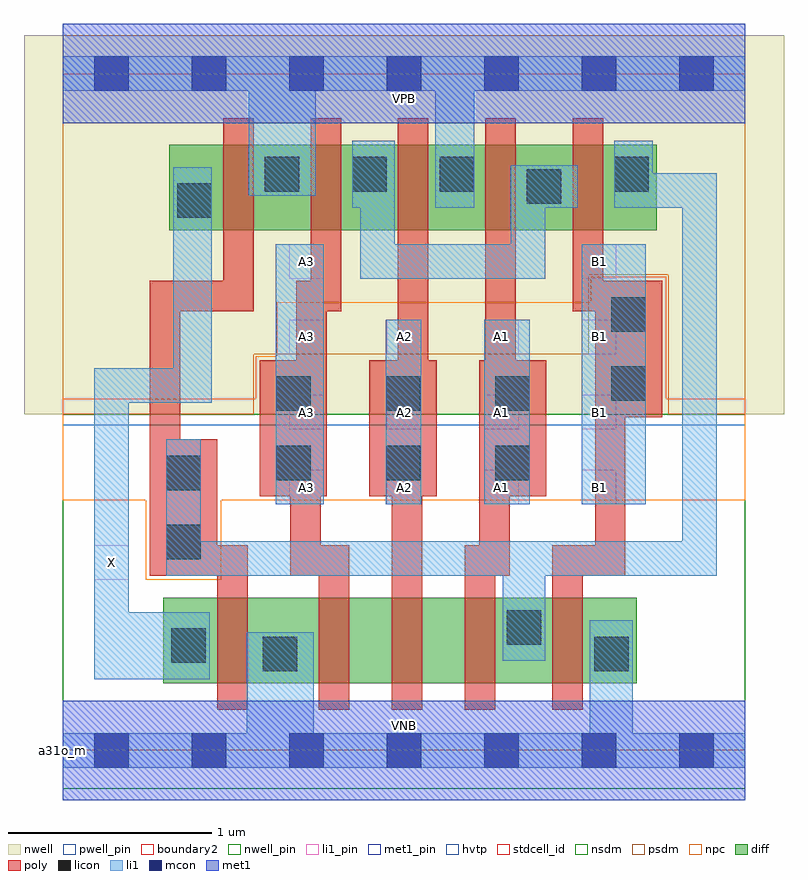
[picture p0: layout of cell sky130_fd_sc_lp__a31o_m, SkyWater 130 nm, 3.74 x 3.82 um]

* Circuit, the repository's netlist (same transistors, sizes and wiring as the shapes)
* Copyright 2020 The SkyWater PDK Authors
*
* Licensed under the Apache License, Version 2.0 (the "License");
* you may not use this file except in compliance with the License.
* You may obtain a copy of the License at
*
*     https://www.apache.org/licenses/LICENSE-2.0
*
* Unless required by applicable law or agreed to in writing, software
* distributed under the License is distributed on an "AS IS" BASIS,
* WITHOUT WARRANTIES OR CONDITIONS OF ANY KIND, either express or implied.
* See the License for the specific language governing permissions and
* limitations under the License.
*
* SPDX-License-Identifier: Apache-2.0

.SUBCKT sky130_fd_sc_lp__a31o_m A1 A2 A3 B1 VGND VNB VPB VPWR X
*.PININFO A1:I A2:I A3:I B1:I VGND:I VNB:I VPB:I VPWR:I X:O
MMPA0 pndA A1 VPWR VPB sky130_fd_pr__pfet_01v8_hvt m=1 w=0.42U l=0.15U mult=1 sa=0.265
+ sb=0.265 sd=0.28 area=0.063 perim=1.14
MMPA1 pndA A2 VPWR VPB sky130_fd_pr__pfet_01v8_hvt m=1 w=0.42U l=0.15U mult=1 sa=0.265
+ sb=0.265 sd=0.28 area=0.063 perim=1.14
MMPA2 pndA A3 VPWR VPB sky130_fd_pr__pfet_01v8_hvt m=1 w=0.42U l=0.15U mult=1 sa=0.265
+ sb=0.265 sd=0.28 area=0.063 perim=1.14
MMPB0 y B1 pndA VPB sky130_fd_pr__pfet_01v8_hvt m=1 w=0.42U l=0.15U mult=1 sa=0.265
+ sb=0.265 sd=0.28 area=0.063 perim=1.14
MMIPX X y VPWR VPB sky130_fd_pr__pfet_01v8_hvt m=1 w=0.42U l=0.15U mult=1 sa=0.265
+ sb=0.265 sd=0.28 area=0.063 perim=1.14
MMNA0 y A1 sndA1 VNB sky130_fd_pr__nfet_01v8 m=1 w=0.42U l=0.15U mult=1 sa=0.265
+ sb=0.265 sd=0.28 area=0.063 perim=1.14
MMNA1 sndA1 A2 sndA2 VNB sky130_fd_pr__nfet_01v8 m=1 w=0.42U l=0.15U mult=1 sa=0.265
+ sb=0.265 sd=0.28 area=0.063 perim=1.14
MMNA2 sndA2 A3 VGND VNB sky130_fd_pr__nfet_01v8 m=1 w=0.42U l=0.15U mult=1 sa=0.265
+ sb=0.265 sd=0.28 area=0.063 perim=1.14
MMNB0 y B1 VGND VNB sky130_fd_pr__nfet_01v8 m=1 w=0.42U l=0.15U mult=1 sa=0.265
+ sb=0.265 sd=0.28 area=0.063 perim=1.14
MMINX X y VGND VNB sky130_fd_pr__nfet_01v8 m=1 w=0.42U l=0.15U mult=1 sa=0.265
+ sb=0.265 sd=0.28 area=0.063 perim=1.14
.ENDS sky130_fd_sc_lp__a31o_m

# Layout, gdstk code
import gdstk
lib = gdstk.Library(unit=1e-6, precision=1e-09)
def R(c, l, rs):  # rectangles x0, y0, x1, y1
    for r in rs: c.add(gdstk.rectangle(r[:2], r[2:], *l))
def A(c, l, x, y, w, h, nx, ny, dx, dy):  # array of equal rectangles
    R(c, l, [(x+i*dx, y+j*dy, x+i*dx+w, y+j*dy+h) for i in range(nx) for j in range(ny)])
def P(c, l, *ps):  # polygons
    for p in ps: c.add(gdstk.Polygon(p, *l))
nwell_pin = (64, 16)
nwell = (64, 20)
diff = (65, 20)
poly = (66, 20)
licon = (66, 44)
li1_pin = (67, 16)
li1 = (67, 20)
mcon = (67, 44)
met1_pin = (68, 16)
met1 = (68, 20)
hvtp = (78, 44)
stdcell_id = (81, 4)
nsdm = (93, 44)
psdm = (94, 20)
npc = (95, 20)
pwell_pin = (122, 16)
boundary2 = (236, 0)

sky130_fd_sc_lp__a31o_m = lib.new_cell('sky130_fd_sc_lp__a31o_m')
R(sky130_fd_sc_lp__a31o_m, nwell_pin, [(0,3.085,3.36,3.33)])
R(sky130_fd_sc_lp__a31o_m, nwell, [(-0.19,1.655,3.55,3.52)])
R(sky130_fd_sc_lp__a31o_m, diff, [(0.495,0.33,2.825,0.75), (0.525,2.56,2.925,2.98)])
P(sky130_fd_sc_lp__a31o_m, poly, [(0.94,3.11),(0.79,3.11),(0.79,2.31),(0.43,2.31),(0.43,0.86),(0.76,0.86),(0.76,0.2),(0.91,0.2),(0.91,1.01),(0.76,1.01),(0.76,1.53),(0.58,1.53),(0.58,2.16),(0.94,2.16)],
  [(1.41,1.01),(1.27,1.01),(1.27,1.25),(1.3,1.25),(1.3,2.16),(1.37,2.16),(1.37,3.11),(1.22,3.11),(1.22,2.31),(1.15,2.31),(1.15,1.92),(0.97,1.92),(0.97,1.25),(1.12,1.25),(1.12,0.86),(1.26,0.86),(1.26,0.2),(1.41,0.2)],
  [(1.84,1.92),(1.8,1.92),(1.8,3.11),(1.65,3.11),(1.65,1.92),(1.51,1.92),(1.51,1.25),(1.62,1.25),(1.62,0.2),(1.77,0.2),(1.77,1.25),(1.84,1.25)],
  [(2.38,1.92),(2.23,1.92),(2.23,3.11),(2.08,3.11),(2.08,1.92),(2.05,1.92),(2.05,1.01),(1.98,1.01),(1.98,0.2),(2.13,0.2),(2.13,0.86),(2.2,0.86),(2.2,1.25),(2.38,1.25)],
  [(2.95,2.31),(2.66,2.31),(2.66,3.11),(2.51,3.11),(2.51,2.16),(2.62,2.16),(2.62,1.01),(2.41,1.01),(2.41,0.2),(2.56,0.2),(2.56,0.86),(2.77,0.86),(2.77,1.64),(2.95,1.64)])
A(sky130_fd_sc_lp__a31o_m, licon, 1.05, 1.33, 0.17, 0.17, 3, 2, 0.54, 0.34)
A(sky130_fd_sc_lp__a31o_m, licon, 0.995, 2.75, 0.17, 0.17, 3, 1, 0.43, 0)
R(sky130_fd_sc_lp__a31o_m, licon, [(0.985,0.39,1.155,0.56), (2.615,0.39,2.785,0.56), (0.535,0.43,0.705,0.6), (2.185,0.52,2.355,0.69), (0.51,0.94,0.68,1.11), (0.51,1.28,0.68,1.45), (2.7,1.72,2.87,1.89), (2.7,2.06,2.87,2.23), (0.565,2.62,0.735,2.79), (2.285,2.69,2.455,2.86), (2.715,2.75,2.885,2.92)])
A(sky130_fd_sc_lp__a31o_m, li1_pin, 1.115, 1.21, 0.17, 0.17, 4, 3, 0.48, 0.37)
R(sky130_fd_sc_lp__a31o_m, li1_pin, [(0.155,0.84,0.325,1.01), (1.115,2.32,1.285,2.49), (2.555,2.32,2.725,2.49)])
R(sky130_fd_sc_lp__a31o_m, li1, [(1.05,1.21,1.285,2.49), (1.59,1.21,1.765,2.12), (2.075,1.21,2.3,2.12), (2.555,1.21,2.87,2.49)])
P(sky130_fd_sc_lp__a31o_m, li1, [(0.915,2.73),(0.915,3.245),(0,3.245),(0,3.415),(3.36,3.415),(3.36,3.245),(2.025,3.245),(2.025,2.67),(1.835,2.67),(1.835,3.245),(1.245,3.245),(1.245,2.73)],
  [(2.595,0.085),(2.595,0.64),(2.805,0.64),(2.805,0.085),(3.36,0.085),(3.36,-0.085),(0,-0.085),(0,0.085),(0.905,0.085),(0.905,0.58),(1.235,0.58),(1.235,0.085)],
  [(2.205,2.49),(2.205,2.88),(2.535,2.88),(2.535,2.67),(2.375,2.67),(2.375,2.32),(1.465,2.32),(1.465,2.67),(1.425,2.67),(1.425,3),(1.635,3),(1.635,2.49)],
  [(2.905,2.84),(3.22,2.84),(3.22,0.86),(2.375,0.86),(2.375,0.44),(2.165,0.44),(2.165,0.86),(0.51,0.86),(0.51,1.53),(0.68,1.53),(0.68,1.03),(3.05,1.03),(3.05,2.67),(2.715,2.67),(2.715,3),(2.905,3)],
  [(0.325,1.71),(0.325,0.68),(0.725,0.68),(0.725,0.35),(0.155,0.35),(0.155,1.88),(0.545,1.88),(0.545,2.87),(0.735,2.87),(0.735,1.71)])
A(sky130_fd_sc_lp__a31o_m, mcon, 0.155, -0.085, 0.17, 0.17, 7, 2, 0.48, 3.33)
R(sky130_fd_sc_lp__a31o_m, met1_pin, [(0,0,3.36,0.245), (0,3.085,3.36,3.33)])
R(sky130_fd_sc_lp__a31o_m, met1, [(0,-0.245,3.36,0.245), (0,3.085,3.36,3.575)])
R(sky130_fd_sc_lp__a31o_m, hvtp, [(0,1.6,3.36,3.33)])
R(sky130_fd_sc_lp__a31o_m, stdcell_id, [(0,0,3.36,3.33)])
R(sky130_fd_sc_lp__a31o_m, nsdm, [(0,-0.19,3.36,1.655)])
P(sky130_fd_sc_lp__a31o_m, psdm, [(3.36,3.52),(0,3.52),(0,1.655),(0.94,1.655),(0.94,1.95),(2.59,1.95),(2.59,2.34),(2.98,2.34),(2.98,1.655),(3.36,1.655)])
P(sky130_fd_sc_lp__a31o_m, npc, [(3.36,1.73),(2.97,1.73),(2.97,2.33),(2.6,2.33),(2.6,2.205),(1.055,2.205),(1.055,1.94),(0.95,1.94),(0.95,1.73),(0,1.73),(0,1.23),(0.41,1.23),(0.41,0.84),(0.78,0.84),(0.78,1.23),(3.36,1.23)])
R(sky130_fd_sc_lp__a31o_m, pwell_pin, [(0,0,3.36,0.245)])
R(sky130_fd_sc_lp__a31o_m, boundary2, [(0,0,3.36,3.33)])
sky130_fd_sc_lp__a31o_m.add(gdstk.Label('VNB', (1.68,0.123), layer=64, texttype=59))
sky130_fd_sc_lp__a31o_m.add(gdstk.Label('VPB', (1.68,3.208), layer=64, texttype=5))
sky130_fd_sc_lp__a31o_m.add(gdstk.Label('a31o_m', (0,0), layer=83, texttype=44))
sky130_fd_sc_lp__a31o_m.add(gdstk.Label('VPWR', (1.68,3.208), layer=68, texttype=5))
sky130_fd_sc_lp__a31o_m.add(gdstk.Label('VGND', (1.68,0.123), layer=68, texttype=5))
sky130_fd_sc_lp__a31o_m.add(gdstk.Label('A1', (2.16,1.295), layer=67, texttype=5))
sky130_fd_sc_lp__a31o_m.add(gdstk.Label('A1', (2.16,1.665), layer=67, texttype=5))
sky130_fd_sc_lp__a31o_m.add(gdstk.Label('A1', (2.16,2.035), layer=67, texttype=5))
sky130_fd_sc_lp__a31o_m.add(gdstk.Label('A2', (1.68,1.295), layer=67, texttype=5))
sky130_fd_sc_lp__a31o_m.add(gdstk.Label('A2', (1.68,1.665), layer=67, texttype=5))
sky130_fd_sc_lp__a31o_m.add(gdstk.Label('A2', (1.68,2.035), layer=67, texttype=5))
sky130_fd_sc_lp__a31o_m.add(gdstk.Label('A3', (1.2,1.295), layer=67, texttype=5))
sky130_fd_sc_lp__a31o_m.add(gdstk.Label('A3', (1.2,1.665), layer=67, texttype=5))
sky130_fd_sc_lp__a31o_m.add(gdstk.Label('A3', (1.2,2.035), layer=67, texttype=5))
sky130_fd_sc_lp__a31o_m.add(gdstk.Label('A3', (1.2,2.405), layer=67, texttype=5))
sky130_fd_sc_lp__a31o_m.add(gdstk.Label('B1', (2.64,1.295), layer=67, texttype=5))
sky130_fd_sc_lp__a31o_m.add(gdstk.Label('B1', (2.64,1.665), layer=67, texttype=5))
sky130_fd_sc_lp__a31o_m.add(gdstk.Label('B1', (2.64,2.035), layer=67, texttype=5))
sky130_fd_sc_lp__a31o_m.add(gdstk.Label('B1', (2.64,2.405), layer=67, texttype=5))
sky130_fd_sc_lp__a31o_m.add(gdstk.Label('X', (0.24,0.925), layer=67, texttype=5))

lib.write_gds('sky130_fd_sc_lp__a31o_m.gds')
